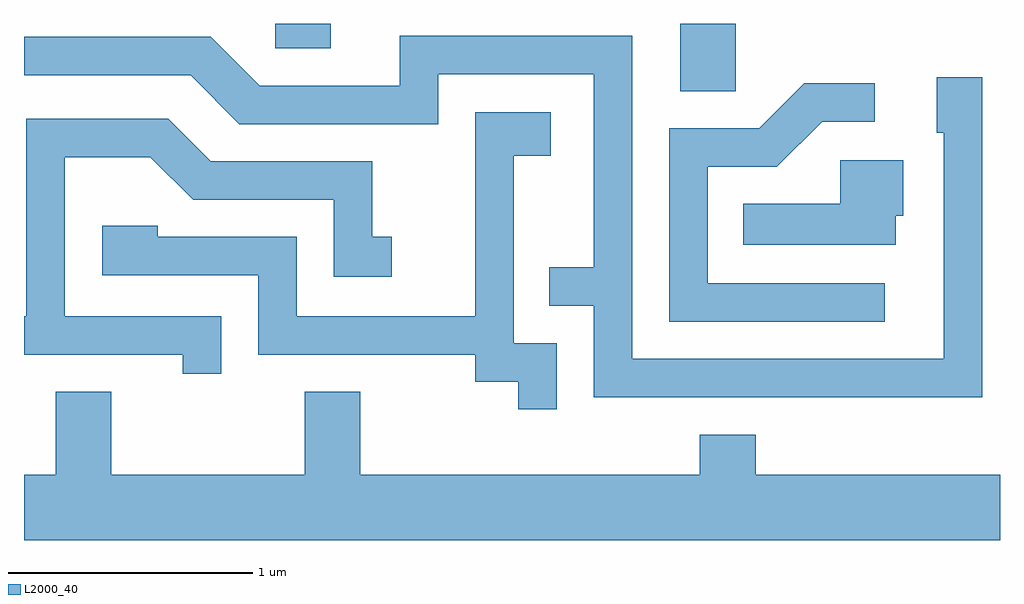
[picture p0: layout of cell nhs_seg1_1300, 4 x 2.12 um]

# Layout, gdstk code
import gdstk
lib = gdstk.Library(unit=1e-6, precision=1e-09)
def R(c, l, rs):  # rectangles x0, y0, x1, y1
    for r in rs: c.add(gdstk.rectangle(r[:2], r[2:], *l))
def P(c, l, *ps):  # polygons
    for p in ps: c.add(gdstk.Polygon(p, *l))
L2000_40 = (2000, 40)

nhs_seg1_1300 = lib.new_cell('nhs_seg1_1300')
R(nhs_seg1_1300, L2000_40, [(228.301,881.436,228.529,881.712), (226.641,881.611,226.869,881.712)])
P(nhs_seg1_1300, L2000_40, [(229.539,881.494),(229.351,881.494),(229.351,881.266),(229.381,881.266),(229.381,880.339),(228.104,880.339),(228.104,881.664),(227.151,881.664),(227.151,881.459),(226.577,881.459),(226.377,881.659),(225.611,881.659),(225.611,881.501),(226.294,881.501),(226.494,881.301),(227.309,881.301),(227.309,881.506),(227.946,881.506),(227.946,880.714),(227.763,880.714),(227.763,880.556),(227.946,880.556),(227.946,880.181),(229.539,880.181)],
  [(229.138,880.649),(228.414,880.649),(228.414,881.126),(228.697,881.126),(228.882,881.311),(229.098,881.311),(229.098,881.469),(228.809,881.469),(228.624,881.284),(228.256,881.284),(228.256,880.491),(229.138,880.491)],
  [(227.794,880.404),(227.619,880.404),(227.619,881.171),(227.769,881.171),(227.769,881.349),(227.461,881.349),(227.461,880.514),(226.729,880.514),(226.729,880.839),(226.159,880.839),(226.159,880.884),(225.931,880.884),(225.931,880.681),(226.571,880.681),(226.571,880.356),(227.461,880.356),(227.461,880.246),(227.636,880.246),(227.636,880.133),(227.794,880.133)],
  [(226.419,880.514),(225.779,880.514),(225.779,881.166),(226.129,881.166),(226.304,880.991),(226.881,880.991),(226.881,880.676),(227.118,880.676),(227.118,880.839),(227.039,880.839),(227.039,881.149),(226.377,881.149),(226.202,881.324),(225.621,881.324),(225.621,880.514),(225.611,880.514),(225.611,880.356),(226.261,880.356),(226.261,880.278),(226.419,880.278)],
  [(229.184,880.926),(229.214,880.926),(229.214,881.154),(228.956,881.154),(228.956,880.974),(228.558,880.974),(228.558,880.806),(229.184,880.806)],
  [(229.611,879.864),(228.609,879.864),(228.609,880.029),(228.381,880.029),(228.381,879.864),(226.989,879.864),(226.989,880.204),(226.761,880.204),(226.761,879.864),(225.969,879.864),(225.969,880.204),(225.741,880.204),(225.741,879.864),(225.611,879.864),(225.611,879.596),(229.611,879.596)])

lib.write_gds('nhs_seg1_1300.gds')
